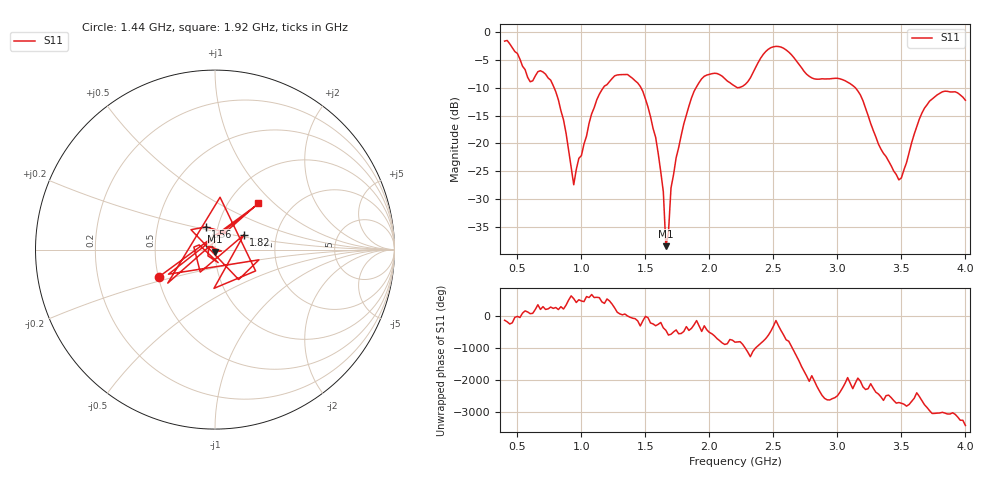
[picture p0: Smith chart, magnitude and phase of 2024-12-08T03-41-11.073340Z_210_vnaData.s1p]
!Created with skrf (http://scikit-rf.org).
# Hz S RI R 50.0
!freq ReS11 ImS11
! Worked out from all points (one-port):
!   181 points, 400 MHz to 4 GHz, reference 50 ohm
!   lowest |S11| = -38.4 dB at 1.66 GHz (marker M1), VSWR 1.02, Z = 50 - j1.2 ohm
!   |S11| at or under -10 dB: 786.5 MHz to 1.172 GHz (385.1 MHz wide, 39.3 % of centre); 1.465 GHz to 1.896 GHz (430.7 MHz wide, 25.6 % of centre); 3.14 GHz to end of sweep (the widest 3 of 4)
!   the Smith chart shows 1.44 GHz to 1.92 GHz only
!   S11 on the Smith chart (normalised r, x): 1.44 GHz: 0.50, -0.17; 1.56 GHz: 0.88, +0.23; 1.82 GHz: 1.36, +0.23; 1.92 GHz: 1.36, +0.80
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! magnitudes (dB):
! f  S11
! 400 MHz  -1.7
! 600 MHz  -8.9
! 680 MHz  -7.0
! 760 MHz  -8.7
! 860 MHz  -15.7
! 940 MHz  -27.4
! 1.12 GHz  -12.2
! 1.3 GHz  -7.7
! 1.44 GHz  -9.2
! 1.56 GHz  -17.3
! 1.64 GHz  -28.6
! 1.66 GHz  -38.4
! 1.68 GHz  -36.0
! 1.7 GHz  -28.0
! 1.76 GHz  -20.7
! 1.82 GHz  -14.9
! 1.92 GHz  -9.1
! 2.06 GHz  -7.5
! 2.2 GHz  -9.7
! 2.48 GHz  -2.8
! 2.66 GHz  -4.6
! 2.8 GHz  -8.2
! 3.1 GHz  -9.3
! 3.48 GHz  -26.5
! 3.56 GHz  -21.7
! 3.72 GHz  -12.4
! 3.84 GHz  -10.6
! 4 GHz  -12.3
